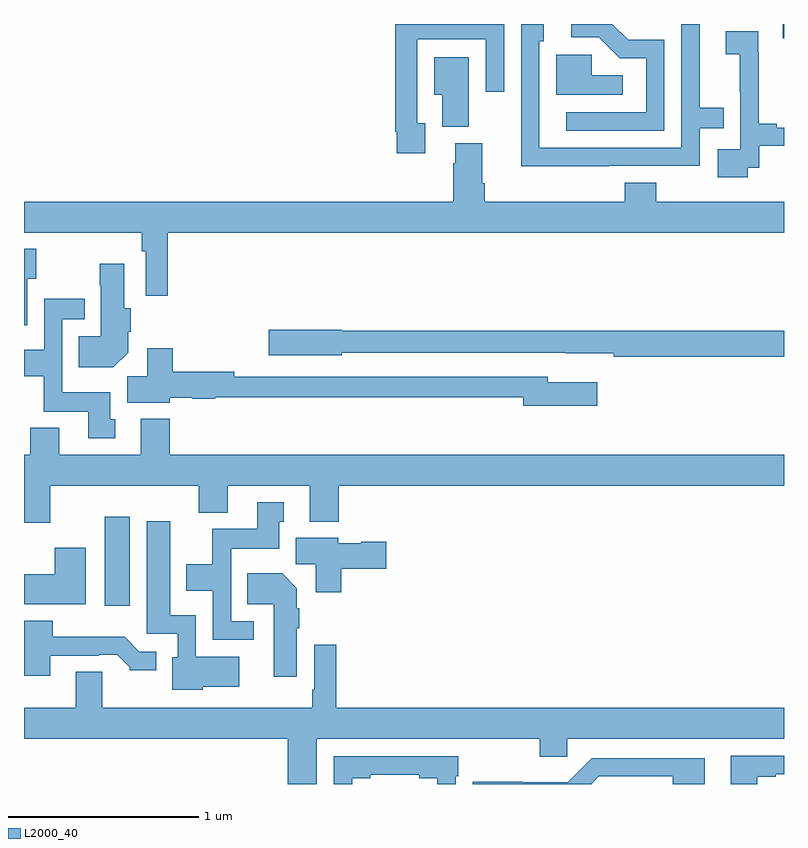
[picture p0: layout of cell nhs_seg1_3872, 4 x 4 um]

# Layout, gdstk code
import gdstk
lib = gdstk.Library(unit=1e-6, precision=1e-09)
def R(c, l, rs):  # rectangles x0, y0, x1, y1
    for r in rs: c.add(gdstk.rectangle(r[:2], r[2:], *l))
def P(c, l, *ps):  # polygons
    for p in ps: c.add(gdstk.Polygon(p, *l))
L2000_40 = (2000, 40)

nhs_seg1_3872 = lib.new_cell('nhs_seg1_3872')
R(nhs_seg1_3872, L2000_40, [(323.426,515.136,323.557,515.605), (326.994,518.124,327,518.199)])
P(nhs_seg1_3872, L2000_40, [(326.078,517.452),(326.556,517.452),(326.556,517.65),(326.684,517.65),(326.684,517.759),(326.557,517.759),(326.557,518.199),(326.46,518.199),(326.46,517.548),(325.713,517.548),(325.713,518.109),(325.735,518.109),(325.735,518.199),(325.617,518.199),(325.617,517.754),(325.616,517.754),(325.616,517.451),(326.078,517.451)],
  [(325.111,517.677),(325.071,517.677),(325.071,518.118),(325.431,518.118),(325.431,517.842),(325.527,517.842),(325.527,518.199),(324.955,518.199),(324.955,517.633),(324.963,517.633),(324.963,517.52),(325.111,517.52)],
  [(326.37,518.115),(326.181,518.115),(326.097,518.199),(325.881,518.199),(325.881,518.13),(326.025,518.13),(326.136,518.019),(326.274,518.019),(326.274,517.734),(325.854,517.734),(325.854,517.638),(326.37,517.638)],
  [(326.808,517.443),(326.87,517.443),(326.87,517.557),(327,517.557),(327,517.653),(326.962,517.653),(326.962,517.673),(326.866,517.673),(326.866,518.051),(326.864,518.051),(326.864,518.162),(326.694,518.162),(326.694,518.041),(326.768,518.041),(326.768,517.843),(326.769,517.843),(326.769,517.539),(326.652,517.539),(326.652,517.392),(326.808,517.392)],
  [(326.152,517.93),(325.989,517.93),(325.989,518.037),(325.802,518.037),(325.802,517.826),(326.152,517.826)],
  [(325.342,518.023),(325.16,518.023),(325.16,517.826),(325.202,517.826),(325.202,517.657),(325.342,517.657)],
  [(323.756,517.1),(327,517.1),(327,517.264),(326.327,517.264),(326.327,517.363),(326.162,517.363),(326.162,517.264),(325.424,517.264),(325.424,517.36),(325.411,517.36),(325.411,517.572),(325.271,517.572),(325.271,517.466),(325.259,517.466),(325.259,517.264),(323,517.264),(323,517.1),(323.62,517.1),(323.62,517.004),(323.64,517.004),(323.64,516.768),(323.756,516.768)],
  [(323.016,516.859),(323.064,516.859),(323.064,517.015),(323,517.015),(323,516.614),(323.016,516.614)],
  [(323.548,516.47),(323.548,516.58),(323.561,516.58),(323.561,516.702),(323.527,516.702),(323.527,516.937),(323.398,516.937),(323.398,516.824),(323.405,516.824),(323.405,516.556),(323.287,516.556),(323.287,516.392),(323.47,516.392)],
  [(323.479,516.12),(323.455,516.12),(323.455,516.262),(323.202,516.262),(323.202,516.645),(323.32,516.645),(323.32,516.754),(323.106,516.754),(323.106,516.484),(323,516.484),(323,516.344),(323.104,516.344),(323.104,516.158),(323.339,516.158),(323.339,516.018),(323.479,516.018)],
  [(327,516.584),(324.672,516.584),(324.672,516.59),(324.288,516.59),(324.288,516.455),(324.672,516.455),(324.672,516.468),(325.852,516.468),(325.852,516.467),(326.104,516.467),(326.104,516.448),(327,516.448)],
  [(326.017,516.313),(325.756,516.313),(325.756,516.342),(324.106,516.342),(324.106,516.37),(323.783,516.37),(323.783,516.493),(323.648,516.493),(323.648,516.344),(323.543,516.344),(323.543,516.206),(323.766,516.206),(323.766,516.233),(323.886,516.233),(323.886,516.226),(324.006,516.226),(324.006,516.234),(325.628,516.234),(325.628,516.191),(326.017,516.191)],
  [(323.137,515.768),(323.921,515.768),(323.921,515.627),(324.073,515.627),(324.073,515.768),(324.503,515.768),(324.503,515.579),(324.656,515.579),(324.656,515.768),(327,515.768),(327,515.932),(323.768,515.932),(323.768,516.121),(323.615,516.121),(323.615,515.932),(323.185,515.932),(323.185,516.073),(323.033,516.073),(323.033,515.932),(323,515.932),(323,515.574),(323.137,515.574)],
  [(324.208,515.055),(324.09,515.055),(324.09,515.438),(324.343,515.438),(324.343,515.58),(324.367,515.58),(324.367,515.683),(324.227,515.683),(324.227,515.542),(323.992,515.542),(323.992,515.356),(323.855,515.356),(323.855,515.216),(323.994,515.216),(323.994,514.959),(324.208,514.959)],
  [(323.94,514.712),(324.133,514.712),(324.133,514.87),(323.904,514.87),(323.904,515.086),(323.77,515.086),(323.77,515.581),(323.645,515.581),(323.645,514.989),(323.808,514.989),(323.808,514.866),(323.78,514.866),(323.78,514.694),(323.94,514.694)],
  [(324.671,515.333),(324.907,515.333),(324.907,515.475),(324.774,515.475),(324.774,515.467),(324.654,515.467),(324.654,515.494),(324.431,515.494),(324.431,515.356),(324.536,515.356),(324.536,515.208),(324.671,515.208)],
  [(323.326,515.443),(323.162,515.443),(323.162,515.302),(323,515.302),(323,515.144),(323.326,515.144)],
  [(324.436,515.02),(324.449,515.02),(324.449,515.123),(324.436,515.123),(324.436,515.23),(324.358,515.308),(324.175,515.308),(324.175,515.144),(324.314,515.144),(324.314,514.764),(324.436,514.764)],
  [(323.137,514.875),(323.393,514.875),(323.393,514.878),(323.492,514.878),(323.556,514.814),(323.556,514.799),(323.695,514.799),(323.695,514.896),(323.607,514.896),(323.529,514.975),(323.15,514.975),(323.15,515.059),(323,515.059),(323,514.77),(323.137,514.77)],
  [(324.644,514.933),(324.528,514.933),(324.528,514.696),(324.516,514.696),(324.516,514.6),(323.413,514.6),(323.413,514.79),(323.273,514.79),(323.273,514.6),(323,514.6),(323,514.436),(324.389,514.436),(324.389,514.199),(324.541,514.199),(324.541,514.436),(325.714,514.436),(325.714,514.343),(325.86,514.343),(325.86,514.436),(327,514.436),(327,514.6),(324.644,514.6)],
  [(326.86,514.236),(326.956,514.236),(326.956,514.251),(327,514.251),(327,514.347),(326.72,514.347),(326.72,514.199),(326.86,514.199)],
  [(324.727,514.228),(324.823,514.228),(324.823,514.248),(325.079,514.248),(325.079,514.228),(325.175,514.228),(325.175,514.199),(325.272,514.199),(325.272,514.241),(325.285,514.241),(325.285,514.344),(324.63,514.344),(324.63,514.199),(324.727,514.199)],
  [(326.025,514.239),(326.414,514.239),(326.414,514.199),(326.584,514.199),(326.584,514.335),(325.989,514.335),(325.863,514.209),(325.625,514.209),(325.625,514.212),(325.362,514.212),(325.362,514.199),(325.985,514.199)])

lib.write_gds('nhs_seg1_3872.gds')
